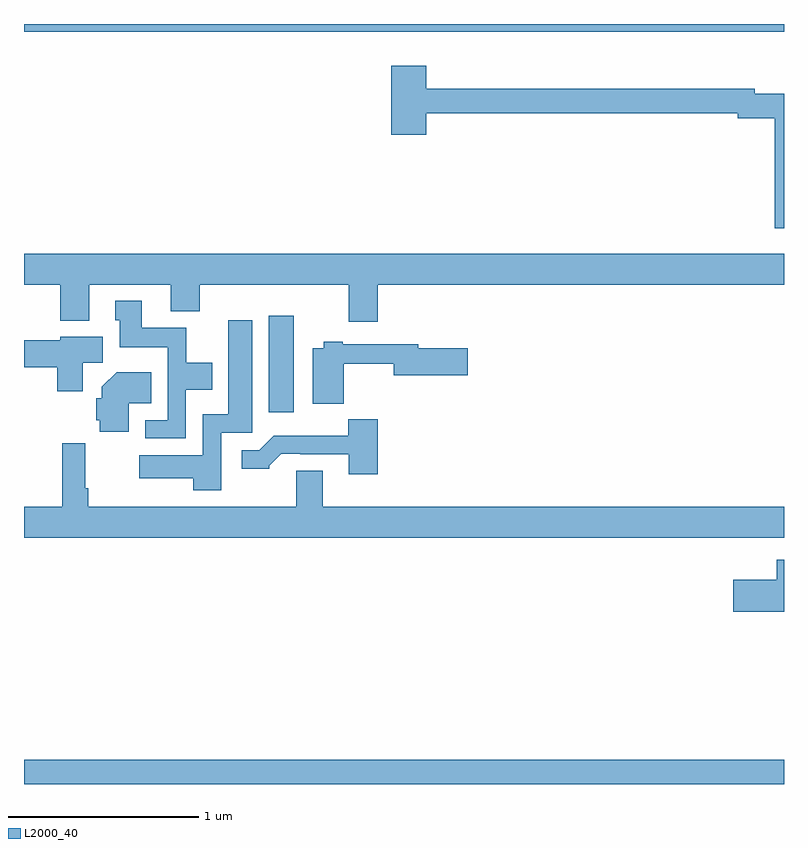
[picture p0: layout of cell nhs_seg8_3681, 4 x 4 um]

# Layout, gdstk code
import gdstk
lib = gdstk.Library(unit=1e-6, precision=1e-09)
def R(c, l, rs):  # rectangles x0, y0, x1, y1
    for r in rs: c.add(gdstk.rectangle(r[:2], r[2:], *l))
def P(c, l, *ps):  # polygons
    for p in ps: c.add(gdstk.Polygon(p, *l))
L2000_40 = (2000, 40)

nhs_seg8_3681 = lib.new_cell('nhs_seg8_3681')
R(nhs_seg8_3681, L2000_40, [(339,1085.9,343,1086.028), (340.289,1087.857,340.42,1088.365), (339,1089.86,343,1089.9)])
P(nhs_seg8_3681, L2000_40, [(343,1089.532),(342.846,1089.532),(342.846,1089.559),(341.117,1089.559),(341.117,1089.679),(340.934,1089.679),(340.934,1089.318),(341.117,1089.318),(341.117,1089.43),(342.756,1089.43),(342.756,1089.403),(342.95,1089.403),(342.95,1088.825),(343,1088.825)],
  [(340.862,1088.528),(343,1088.528),(343,1088.692),(339,1088.692),(339,1088.528),(339.191,1088.528),(339.191,1088.339),(339.343,1088.339),(339.343,1088.528),(339.773,1088.528),(339.773,1088.387),(339.926,1088.387),(339.926,1088.528),(340.709,1088.528),(340.709,1088.334),(340.862,1088.334)],
  [(339.852,1087.976),(339.991,1087.976),(339.991,1088.116),(339.855,1088.116),(339.855,1088.302),(339.619,1088.302),(339.619,1088.443),(339.479,1088.443),(339.479,1088.34),(339.503,1088.34),(339.503,1088.198),(339.756,1088.198),(339.756,1087.815),(339.639,1087.815),(339.639,1087.719),(339.852,1087.719)],
  [(340.038,1087.749),(340.201,1087.749),(340.201,1088.341),(340.076,1088.341),(340.076,1087.846),(339.942,1087.846),(339.942,1087.63),(339.606,1087.63),(339.606,1087.508),(339.89,1087.508),(339.89,1087.446),(340.038,1087.446)],
  [(339.309,1088.116),(339.415,1088.116),(339.415,1088.254),(339.192,1088.254),(339.192,1088.235),(339,1088.235),(339,1088.093),(339.176,1088.093),(339.176,1087.968),(339.309,1087.968)],
  [(340.682,1088.113),(340.946,1088.113),(340.946,1088.051),(341.335,1088.051),(341.335,1088.193),(341.074,1088.193),(341.074,1088.214),(340.678,1088.214),(340.678,1088.227),(340.578,1088.227),(340.578,1088.194),(340.52,1088.194),(340.52,1087.901),(340.682,1087.901)],
  [(339.55,1087.904),(339.671,1087.904),(339.671,1088.068),(339.488,1088.068),(339.41,1087.99),(339.41,1087.929),(339.381,1087.929),(339.381,1087.815),(339.398,1087.815),(339.398,1087.754),(339.55,1087.754)],
  [(340.862,1087.819),(340.707,1087.819),(340.707,1087.732),(340.315,1087.732),(340.239,1087.656),(340.146,1087.656),(340.146,1087.559),(340.29,1087.559),(340.29,1087.574),(340.354,1087.638),(340.453,1087.638),(340.453,1087.635),(340.709,1087.635),(340.709,1087.53),(340.862,1087.53)],
  [(343,1087.36),(340.573,1087.36),(340.573,1087.55),(340.433,1087.55),(340.433,1087.36),(339.338,1087.36),(339.338,1087.456),(339.323,1087.456),(339.323,1087.693),(339.202,1087.693),(339.202,1087.36),(339,1087.36),(339,1087.196),(343,1087.196)],
  [(343,1087.081),(342.962,1087.081),(342.962,1086.976),(342.732,1086.976),(342.732,1086.806),(343,1086.806)])

lib.write_gds('nhs_seg8_3681.gds')
